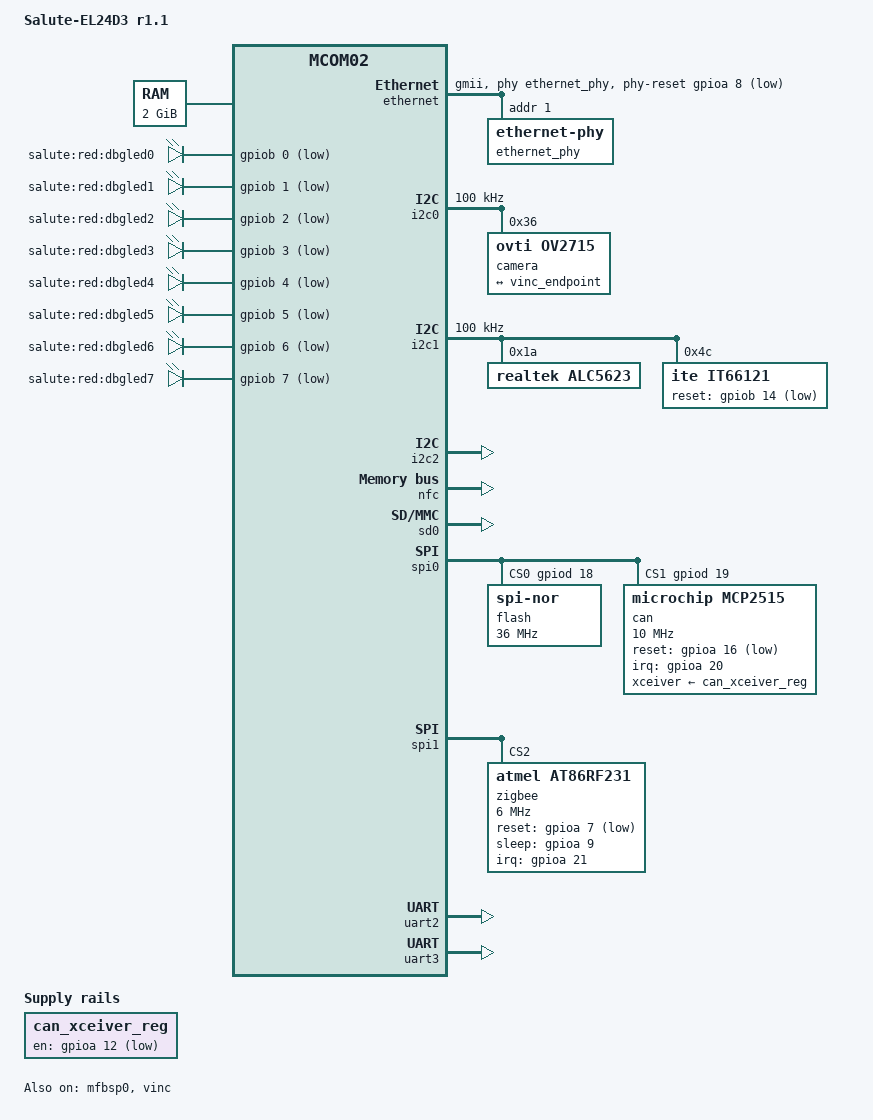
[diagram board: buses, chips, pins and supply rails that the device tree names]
/*
 * Copyright 2017 RnD Center "ELVEES", JSC
 *
 * This program is free software; you can redistribute it and/or modify
 * it under the terms of the GNU General Public License version 2 as
 * published by the Free Software Foundation.
 */

/dts-v1/;

#include <dt-bindings/gpio/gpio.h>
#include <dt-bindings/interrupt-controller/irq.h>

#include "mcom02.dtsi"

/ {
	model = "Salute-EL24D3 r1.1";
	compatible = "elvees,salute-el24d3-r1.1",
		     "elvees,salute-el24d3",
		     "elvees,mcom02";

	chosen {
		bootargs = "console=ttyS0,115200";
	};

	aliases {
		spi0 = &spi0;
		spi1 = &spi1;
	};

	memory {
		device_type = "memory";
		reg = <0x40000000 0x40000000>,
		      <0xa0000000 0x40000000>;
	};

	clocks {
		can_clk: can_clk {
			#clock-cells = <0>;
			compatible = "fixed-clock";
			clock-frequency = <16000000>;
		};
	};

	leds {
		compatible = "gpio-leds";

		dbgled0 {
			label = "salute:red:dbgled0";
			gpios = <&gpiob 0 GPIO_ACTIVE_LOW>;
			linux,default-trigger = "heartbeat";
		};

		dbgled1 {
			label = "salute:red:dbgled1";
			gpios = <&gpiob 1 GPIO_ACTIVE_LOW>;
			linux,default-trigger = "mmc0";
		};

		dbgled2 {
			label = "salute:red:dbgled2";
			gpios = <&gpiob 2 GPIO_ACTIVE_LOW>;
			default-state = "off";
		};

		dbgled3 {
			label = "salute:red:dbgled3";
			gpios = <&gpiob 3 GPIO_ACTIVE_LOW>;
			default-state = "off";
		};

		dbgled4 {
			label = "salute:red:dbgled4";
			gpios = <&gpiob 4 GPIO_ACTIVE_LOW>;
			default-state = "off";
		};

		dbgled5 {
			label = "salute:red:dbgled5";
			gpios = <&gpiob 5 GPIO_ACTIVE_LOW>;
			default-state = "off";
		};

		dbgled6 {
			label = "salute:red:dbgled6";
			gpios = <&gpiob 6 GPIO_ACTIVE_LOW>;
			default-state = "off";
		};

		dbgled7 {
			label = "salute:red:dbgled7";
			gpios = <&gpiob 7 GPIO_ACTIVE_LOW>;
			default-state = "off";
		};
	};

	regulators {
		#address-cells = <1>;
		#size-cells = <0>;
		compatible = "simple-bus";

		can_xceiver_reg: regulator@0 {
			compatible = "regulator-fixed";
			reg = <0x0>;
			regulator-name = "can-xceiver";
			gpio = <&gpioa 12 0>;
		};
	};

	sound {
		compatible = "simple-audio-card";
		simple-audio-card,name = "Salute-EL24D3";
		simple-audio-card,format = "i2s";
		simple-audio-card,bitclock-master = <&dailink0_master>;
		simple-audio-card,frame-master = <&dailink0_master>;

		simple-audio-card,cpu {
			sound-dai = <&mfbsp0>;
		};

		dailink0_master: simple-audio-card,codec {
			sound-dai = <&alc5623>;
			system-clock-frequency = <24576000>;
		};
	};
};

&ethernet {
	#address-cells = <1>;
	#size-cells = <0>;
	status = "okay";
	phy-mode = "gmii";
	phy-handle = <&ethernet_phy>;
	phy-reset-gpios = <&gpioa 8 GPIO_ACTIVE_LOW>;
	txclk-125en-gpios = <&gpioa 3 GPIO_ACTIVE_HIGH>;

	ethernet_phy: ethernet-phy@1 {
		reg = <0x1>;
	};
};

&framebuffer {
	status = "okay";
	output = <&it66121>;
};

&i2c0 {
	status = "okay";
	clock-frequency = <100000>;

	camera@36 {
		compatible = "ovti,ov2715";
		reg = <0x36>;

		port {
			ov2715_endpoint: endpoint {
				remote-endpoint = <&vinc_endpoint>;
			};
		};
	};
};

&i2c1 {
	status = "okay";
	clock-frequency = <100000>;

	alc5623: audio-codec@1a {
		#sound-dai-cells = <0>;
		compatible = "realtek,alc5623";
		reg = <0x1a>;
	};

	it66121: hdmi@4c {
		compatible = "ite,it66121";
		reg = <0x4c>;
		reset-gpios = <&gpiob 14 GPIO_ACTIVE_LOW>;
	};
};

&i2c2 {
	/* Wired to PI connector */
	status = "okay";
};

&mfbsp0 {
	status = "okay";
};

&nfc {
	status = "okay";
};

&sd0 {
	status = "okay";
};

&spi0 {
	status = "okay";
	num-cs = <2>;
	/* Third argument of "cs-gpios" property is set to 0,
	 * because it is ignored by the SPI driver. */
	cs-gpios = <&gpiod 18 0>, <&gpiod 19 0>;

	flash: flash@0 {
		#address-cells = <1>;
		#size-cells = <1>;
		compatible = "jedec,spi-nor", "spi-flash";
		reg = <0x0>;
		/* The data transfer is not stable at a higher frequency. */
		spi-max-frequency = <36000000>;
		m25p,fast-read;
		u-boot,dm-pre-reloc;
	};

	can: can@1 {
		compatible = "microchip,mcp2515";
		reg = <0x1>;
		spi-max-frequency = <10000000>;
		clocks = <&can_clk>;
		interrupt-parent = <&gpioa>;
		interrupts = <20 IRQ_TYPE_LEVEL_LOW>;
		reset-gpios = <&gpioa 16 GPIO_ACTIVE_LOW>;
		xceiver-supply = <&can_xceiver_reg>;
	};
};

&spi1 {
	/* SPI1_nSS0 and SPI1_nSS1 are wired to PI connector */
	status = "okay";

	zigbee: zigbee@2 {
		compatible = "atmel,at86rf231";
		reg = <0x2>;
		/* Max clock frequency, specified in the AT86RF231 datasheet,
		 * is 8 MHz for synchronous mode and 7.5 MHz for asynchronous.
		 * It is set to 6 MHz, because the controller works not stable
		 * at the max frequency. */
		spi-max-frequency = <6000000>;
		interrupt-parent = <&gpioa>;
		interrupts = <21 IRQ_TYPE_LEVEL_HIGH>;
		reset-gpio = <&gpioa 7 GPIO_ACTIVE_LOW>;
		sleep-gpio = <&gpioa 9 GPIO_ACTIVE_HIGH>;
	};
};

/* RS-485 is used as physical layer for UART2 */
&uart2 {
	status = "okay";
};

/* RS-232 is used as physical layer for UART3 */
&uart3 {
	status = "okay";
};

&vinc {
	status = "okay";
	elvees,pixel-clock-divider = <16>;

	ports {
		#address-cells = <1>;
		#size-cells = <0>;

		port@0 {
			#address-cells = <1>;
			#size-cells = <0>;
			reg = <0x0>;

			vinc_endpoint: endpoint@0 {
				reg = <0x0>;
				remote-endpoint = <&ov2715_endpoint>;
			};
		};
	};
};
